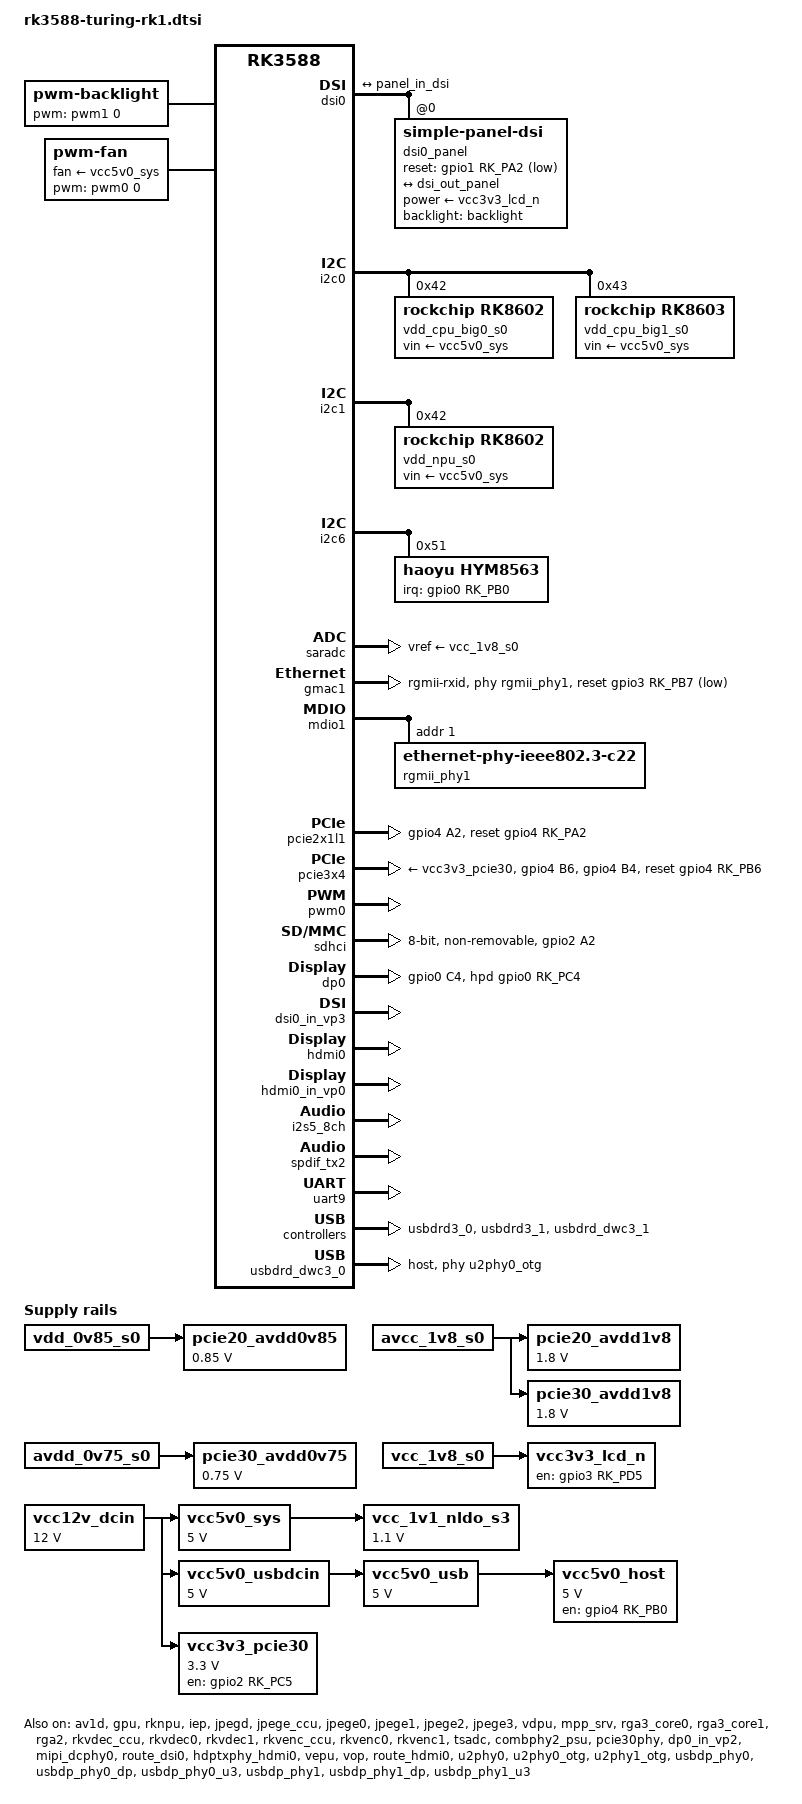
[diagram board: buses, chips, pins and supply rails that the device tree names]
// SPDX-License-Identifier: (GPL-2.0+ OR MIT)
/*
 * Copyright (c) 2023 Joshua Riek <jjriek@verizon.net>
 *
 */

/dts-v1/;

#include <dt-bindings/gpio/gpio.h>
#include <dt-bindings/pwm/pwm.h>
#include <dt-bindings/pinctrl/rockchip.h>
#include <dt-bindings/input/rk-input.h>
#include <dt-bindings/display/drm_mipi_dsi.h>
#include <dt-bindings/display/rockchip_vop.h>
#include <dt-bindings/sensor-dev.h>

#include "dt-bindings/usb/pd.h"
#include "rk3588.dtsi"
#include "rk3588-rk806-single.dtsi"
#include "rk3588-linux.dtsi"

/ {
	compatible = "turing,rk1", "rockchip,rk3588";

	/delete-node/ chosen;

	aliases {
		ethernet0 = &gmac1;
		mmc0 = &sdhci;
		serial2 = &uart2;
		serial9 = &uart9;
	};

	/* If hdmirx node is disabled, delete the reserved-memory node here. */
	reserved-memory {
		#address-cells = <2>;
		#size-cells = <2>;
		ranges;

		/* Reserve 256MB memory for hdmirx-controller@fdee0000 */
		cma {
			compatible = "shared-dma-pool";
			reusable;
			reg = <0x0 (256 * 0x100000) 0x0 (256 * 0x100000)>;
			linux,cma-default;
		};
	};

	backlight: backlight {
		compatible = "pwm-backlight";
		brightness-levels = <
			  0  20  20  21  21  22  22  23
			 23  24  24  25  25  26  26  27
			 27  28  28  29  29  30  30  31
			 31  32  32  33  33  34  34  35
			 35  36  36  37  37  38  38  39
			 40  41  42  43  44  45  46  47
			 48  49  50  51  52  53  54  55
			 56  57  58  59  60  61  62  63
			 64  65  66  67  68  69  70  71
			 72  73  74  75  76  77  78  79
			 80  81  82  83  84  85  86  87
			 88  89  90  91  92  93  94  95
			 96  97  98  99 100 101 102 103
			104 105 106 107 108 109 110 111
			112 113 114 115 116 117 118 119
			120 121 122 123 124 125 126 127
			128 129 130 131 132 133 134 135
			136 137 138 139 140 141 142 143
			144 145 146 147 148 149 150 151
			152 153 154 155 156 157 158 159
			160 161 162 163 164 165 166 167
			168 169 170 171 172 173 174 175
			176 177 178 179 180 181 182 183
			184 185 186 187 188 189 190 191
			192 193 194 195 196 197 198 199
			200 201 202 203 204 205 206 207
			208 209 210 211 212 213 214 215
			216 217 218 219 220 221 222 223
			224 225 226 227 228 229 230 231
			232 233 234 235 236 237 238 239
			240 241 242 243 244 245 246 247
			248 249 250 251 252 253 254 255
		>;
		default-brightness-level = <200>;
	};

	fan: pwm-fan {
		compatible = "pwm-fan";
		cooling-levels = <100 160 190 200 215 235 255>;
		fan-supply = <&vcc5v0_sys>;
		pinctrl-names = "default";
		pinctrl-0 = <&pwm0m2_pins &fan_int>;
		pwms = <&pwm0 0 50000 0>;
		#cooling-cells = <2>;
		rockchip,temp-trips = <
			55000	1
			60000	2
			65000	3
			70000	4
			75000	5
			80000	6
		>;
	};

	hdmi0_sound: hdmi0-sound {
		status = "okay";
		compatible = "rockchip,hdmi";
		rockchip,mclk-fs = <128>;
		rockchip,card-name = "rockchip-hdmi0";
		rockchip,cpu = <&i2s5_8ch>;
		rockchip,codec = <&hdmi0>;
		rockchip,jack-det;
	};

	dp0_sound: dp0-sound {
		status = "okay";
		compatible = "rockchip,hdmi";
		rockchip,card-name = "rockchip-dp0";
		rockchip,mclk-fs = <512>;
		rockchip,cpu = <&spdif_tx2>;
		rockchip,codec = <&dp0 1>;
		rockchip,jack-det;
	};

	vcc12v_dcin: vcc12v-dcin {
		compatible = "regulator-fixed";
		regulator-name = "vcc12v_dcin";
		regulator-always-on;
		regulator-boot-on;
		regulator-min-microvolt = <12000000>;
		regulator-max-microvolt = <12000000>;
	};

	vcc5v0_sys: vcc5v0-sys {
		compatible = "regulator-fixed";
		regulator-name = "vcc5v0_sys";
		regulator-always-on;
		regulator-boot-on;
		regulator-min-microvolt = <5000000>;
		regulator-max-microvolt = <5000000>;
		vin-supply = <&vcc12v_dcin>;
	};

	vcc5v0_usbdcin: vcc5v0-usbdcin {
		compatible = "regulator-fixed";
		regulator-name = "vcc5v0_usbdcin";
		regulator-always-on;
		regulator-boot-on;
		regulator-min-microvolt = <5000000>;
		regulator-max-microvolt = <5000000>;
		vin-supply = <&vcc12v_dcin>;
	};

	vcc5v0_usb: vcc5v0-usb {
		compatible = "regulator-fixed";
		regulator-name = "vcc5v0_usb";
		regulator-always-on;
		regulator-boot-on;
		regulator-min-microvolt = <5000000>;
		regulator-max-microvolt = <5000000>;
		vin-supply = <&vcc5v0_usbdcin>;
	};

	pcie20_avdd0v85: pcie20-avdd0v85 {
		compatible = "regulator-fixed";
		regulator-name = "pcie20_avdd0v85";
		regulator-boot-on;
		regulator-always-on;
		regulator-min-microvolt = <850000>;
		regulator-max-microvolt = <850000>;
		vin-supply = <&vdd_0v85_s0>;
	};

	pcie20_avdd1v8: pcie20-avdd1v8 {
		compatible = "regulator-fixed";
		regulator-name = "pcie20_avdd1v8";
		regulator-boot-on;
		regulator-always-on;
		regulator-min-microvolt = <1800000>;
		regulator-max-microvolt = <1800000>;
		vin-supply = <&avcc_1v8_s0>;
	};

	pcie30_avdd0v75: pcie30-avdd0v75 {
		compatible = "regulator-fixed";
		regulator-name = "pcie30_avdd0v75";
		regulator-boot-on;
		regulator-always-on;
		regulator-min-microvolt = <750000>;
		regulator-max-microvolt = <750000>;
		vin-supply = <&avdd_0v75_s0>;
	};

	pcie30_avdd1v8: pcie30-avdd1v8 {
		compatible = "regulator-fixed";
		regulator-name = "pcie30_avdd1v8";
		regulator-boot-on;
		regulator-always-on;
		regulator-min-microvolt = <1800000>;
		regulator-max-microvolt = <1800000>;
		vin-supply = <&avcc_1v8_s0>;
	};

	vcc3v3_lcd_n: vcc3v3-lcd0-n {
		compatible = "regulator-fixed";
		regulator-name = "vcc3v3_lcd0_n";
		regulator-boot-on;
		enable-active-high;
		gpio = <&gpio3 RK_PD5 GPIO_ACTIVE_HIGH>;
		vin-supply = <&vcc_1v8_s0>;
	};

	vcc_1v1_nldo_s3: vcc-1v1-nldo-s3 {
		compatible = "regulator-fixed";
		regulator-name = "vcc_1v1_nldo_s3";
		regulator-always-on;
		regulator-boot-on;
		regulator-min-microvolt = <1100000>;
		regulator-max-microvolt = <1100000>;
		vin-supply = <&vcc5v0_sys>;
	};

	vcc3v3_pcie30: vcc3v3-pcie30 {
		compatible = "regulator-fixed";
		regulator-name = "vcc3v3_pcie30";
		regulator-min-microvolt = <3300000>;
		regulator-max-microvolt = <3300000>;
		enable-active-high;
		gpios = <&gpio2 RK_PC5 GPIO_ACTIVE_HIGH>;
		pinctrl-names = "default";
		pinctrl-0 = <&vcc3v3_pcie30_en>;
		startup-delay-us = <5000>;
		vin-supply = <&vcc12v_dcin>;
	};

	vcc5v0_host: vcc5v0-host {
		compatible = "regulator-fixed";
		regulator-name = "vcc5v0_host";
		regulator-boot-on;
		regulator-always-on;
		regulator-min-microvolt = <5000000>;
		regulator-max-microvolt = <5000000>;
		enable-active-high;
		gpio = <&gpio4 RK_PB0 GPIO_ACTIVE_HIGH>;
		vin-supply = <&vcc5v0_usb>;
		pinctrl-names = "default";
		pinctrl-0 = <&vcc5v0_host_en>;
	};
};

&av1d {
	status = "okay";
};

&av1d_mmu {
	status = "okay";
};

&cpu_l0 {
	cpu-supply = <&vdd_cpu_lit_s0>;
	mem-supply = <&vdd_cpu_lit_mem_s0>;
};

&cpu_b0 {
	cpu-supply = <&vdd_cpu_big0_s0>;
	mem-supply = <&vdd_cpu_big0_mem_s0>;
};

&cpu_b2 {
	cpu-supply = <&vdd_cpu_big1_s0>;
	mem-supply = <&vdd_cpu_big1_mem_s0>;
};

&gpu {
	mali-supply = <&vdd_gpu_s0>;
	mem-supply = <&vdd_gpu_mem_s0>;
	status = "okay";
};

&rknpu {
	rknpu-supply = <&vdd_npu_s0>;
	mem-supply = <&vdd_npu_mem_s0>;
	status = "okay";
};

&rknpu_mmu {
	status = "okay";
};

&dsi0 {
	status = "disabled";
	//rockchip,lane-rate = <1000>;
	dsi0_panel: panel@0 {
		status = "okay";
		compatible = "simple-panel-dsi";
		reg = <0>;
		backlight = <&backlight>;
		reset-delay-ms = <10>;
		enable-delay-ms = <10>;
		prepare-delay-ms = <10>;
		unprepare-delay-ms = <10>;
		disable-delay-ms = <60>;
		dsi,flags = <(MIPI_DSI_MODE_VIDEO | MIPI_DSI_MODE_VIDEO_BURST |
			MIPI_DSI_MODE_LPM | MIPI_DSI_MODE_EOT_PACKET)>;
		dsi,format = <MIPI_DSI_FMT_RGB888>;
		dsi,lanes  = <4>;
		panel-init-sequence = [
			23 00 02 FE 21
			23 00 02 04 00
			23 00 02 00 64
			23 00 02 2A 00
			23 00 02 26 64
			23 00 02 54 00
			23 00 02 50 64
			23 00 02 7B 00
			23 00 02 77 64
			23 00 02 A2 00
			23 00 02 9D 64
			23 00 02 C9 00
			23 00 02 C5 64
			23 00 02 01 71
			23 00 02 27 71
			23 00 02 51 71
			23 00 02 78 71
			23 00 02 9E 71
			23 00 02 C6 71
			23 00 02 02 89
			23 00 02 28 89
			23 00 02 52 89
			23 00 02 79 89
			23 00 02 9F 89
			23 00 02 C7 89
			23 00 02 03 9E
			23 00 02 29 9E
			23 00 02 53 9E
			23 00 02 7A 9E
			23 00 02 A0 9E
			23 00 02 C8 9E
			23 00 02 09 00
			23 00 02 05 B0
			23 00 02 31 00
			23 00 02 2B B0
			23 00 02 5A 00
			23 00 02 55 B0
			23 00 02 80 00
			23 00 02 7C B0
			23 00 02 A7 00
			23 00 02 A3 B0
			23 00 02 CE 00
			23 00 02 CA B0
			23 00 02 06 C0
			23 00 02 2D C0
			23 00 02 56 C0
			23 00 02 7D C0
			23 00 02 A4 C0
			23 00 02 CB C0
			23 00 02 07 CF
			23 00 02 2F CF
			23 00 02 58 CF
			23 00 02 7E CF
			23 00 02 A5 CF
			23 00 02 CC CF
			23 00 02 08 DD
			23 00 02 30 DD
			23 00 02 59 DD
			23 00 02 7F DD
			23 00 02 A6 DD
			23 00 02 CD DD
			23 00 02 0E 15
			23 00 02 0A E9
			23 00 02 36 15
			23 00 02 32 E9
			23 00 02 5F 15
			23 00 02 5B E9
			23 00 02 85 15
			23 00 02 81 E9
			23 00 02 AD 15
			23 00 02 A9 E9
			23 00 02 D3 15
			23 00 02 CF E9
			23 00 02 0B 14
			23 00 02 33 14
			23 00 02 5C 14
			23 00 02 82 14
			23 00 02 AA 14
			23 00 02 D0 14
			23 00 02 0C 36
			23 00 02 34 36
			23 00 02 5D 36
			23 00 02 83 36
			23 00 02 AB 36
			23 00 02 D1 36
			23 00 02 0D 6B
			23 00 02 35 6B
			23 00 02 5E 6B
			23 00 02 84 6B
			23 00 02 AC 6B
			23 00 02 D2 6B
			23 00 02 13 5A
			23 00 02 0F 94
			23 00 02 3B 5A
			23 00 02 37 94
			23 00 02 64 5A
			23 00 02 60 94
			23 00 02 8A 5A
			23 00 02 86 94
			23 00 02 B2 5A
			23 00 02 AE 94
			23 00 02 D8 5A
			23 00 02 D4 94
			23 00 02 10 D1
			23 00 02 38 D1
			23 00 02 61 D1
			23 00 02 87 D1
			23 00 02 AF D1
			23 00 02 D5 D1
			23 00 02 11 04
			23 00 02 39 04
			23 00 02 62 04
			23 00 02 88 04
			23 00 02 B0 04
			23 00 02 D6 04
			23 00 02 12 05
			23 00 02 3A 05
			23 00 02 63 05
			23 00 02 89 05
			23 00 02 B1 05
			23 00 02 D7 05
			23 00 02 18 AA
			23 00 02 14 36
			23 00 02 42 AA
			23 00 02 3D 36
			23 00 02 69 AA
			23 00 02 65 36
			23 00 02 8F AA
			23 00 02 8B 36
			23 00 02 B7 AA
			23 00 02 B3 36
			23 00 02 DD AA
			23 00 02 D9 36
			23 00 02 15 74
			23 00 02 3F 74
			23 00 02 66 74
			23 00 02 8C 74
			23 00 02 B4 74
			23 00 02 DA 74
			23 00 02 16 9F
			23 00 02 40 9F
			23 00 02 67 9F
			23 00 02 8D 9F
			23 00 02 B5 9F
			23 00 02 DB 9F
			23 00 02 17 DC
			23 00 02 41 DC
			23 00 02 68 DC
			23 00 02 8E DC
			23 00 02 B6 DC
			23 00 02 DC DC
			23 00 02 1D FF
			23 00 02 19 03
			23 00 02 47 FF
			23 00 02 43 03
			23 00 02 6E FF
			23 00 02 6A 03
			23 00 02 94 FF
			23 00 02 90 03
			23 00 02 BC FF
			23 00 02 B8 03
			23 00 02 E2 FF
			23 00 02 DE 03
			23 00 02 1A 35
			23 00 02 44 35
			23 00 02 6B 35
			23 00 02 91 35
			23 00 02 B9 35
			23 00 02 DF 35
			23 00 02 1B 45
			23 00 02 45 45
			23 00 02 6C 45
			23 00 02 92 45
			23 00 02 BA 45
			23 00 02 E0 45
			23 00 02 1C 55
			23 00 02 46 55
			23 00 02 6D 55
			23 00 02 93 55
			23 00 02 BB 55
			23 00 02 E1 55
			23 00 02 22 FF
			23 00 02 1E 68
			23 00 02 4C FF
			23 00 02 48 68
			23 00 02 73 FF
			23 00 02 6F 68
			23 00 02 99 FF
			23 00 02 95 68
			23 00 02 C1 FF
			23 00 02 BD 68
			23 00 02 E7 FF
			23 00 02 E3 68
			23 00 02 1F 7E
			23 00 02 49 7E
			23 00 02 70 7E
			23 00 02 96 7E
			23 00 02 BE 7E
			23 00 02 E4 7E
			23 00 02 20 97
			23 00 02 4A 97
			23 00 02 71 97
			23 00 02 97 97
			23 00 02 BF 97
			23 00 02 E5 97
			23 00 02 21 B5
			23 00 02 4B B5
			23 00 02 72 B5
			23 00 02 98 B5
			23 00 02 C0 B5
			23 00 02 E6 B5
			23 00 02 25 F0
			23 00 02 23 E8
			23 00 02 4F F0
			23 00 02 4D E8
			23 00 02 76 F0
			23 00 02 74 E8
			23 00 02 9C F0
			23 00 02 9A E8
			23 00 02 C4 F0
			23 00 02 C2 E8
			23 00 02 EA F0
			23 00 02 E8 E8
			23 00 02 24 FF
			23 00 02 4E FF
			23 00 02 75 FF
			23 00 02 9B FF
			23 00 02 C3 FF
			23 00 02 E9 FF
			23 00 02 FE 3D
			23 00 02 00 04
			23 00 02 FE 23
			23 00 02 08 82
			23 00 02 0A 00
			23 00 02 0B 00
			23 00 02 0C 01
			23 00 02 16 00
			23 00 02 18 02
			23 00 02 1B 04
			23 00 02 19 04
			23 00 02 1C 81
			23 00 02 1F 00
			23 00 02 20 03
			23 00 02 23 04
			23 00 02 21 01
			23 00 02 54 63
			23 00 02 55 54
			23 00 02 6E 45
			23 00 02 6D 36
			23 00 02 FE 3D
			23 00 02 55 78
			23 00 02 FE 20
			23 00 02 26 30
			23 00 02 FE 3D
			23 00 02 20 71
			23 00 02 50 8F
			23 00 02 51 8F
			23 00 02 FE 00
			23 00 02 35 00
			05 78 01 11
			05 00 01 29
		];

		panel-exit-sequence = [
			05 00 01 28
			05 00 01 10
		];

		disp_timings0: display-timings {
			native-mode = <&dsi0_timing0>;
			dsi0_timing0: timing0 {
				clock-frequency = <132000000>;
				hactive = <1080>;
				vactive = <1920>;
				hfront-porch = <15>;
				hsync-len = <4>;
				hback-porch = <30>;
				vfront-porch = <15>;
				vsync-len = <2>;
				vback-porch = <15>;
				hsync-active = <0>;
				vsync-active = <0>;
				de-active = <0>;
				pixelclk-active = <0>;
			};
		};

		ports {
			#address-cells = <1>;
			#size-cells = <0>;

			port@0 {
				reg = <0>;
				panel_in_dsi: endpoint {
					remote-endpoint = <&dsi_out_panel>;
				};
			};
		};
	};

	ports {
		#address-cells = <1>;
		#size-cells = <0>;

		port@1 {
			reg = <1>;
			dsi_out_panel: endpoint {
				remote-endpoint = <&panel_in_dsi>;
			};
		};
	};

};

&backlight {
	pwms = <&pwm1 0 25000 0>;
	status = "okay";
};

&i2c0 {
	status = "okay";
	pinctrl-names = "default";
	pinctrl-0 = <&i2c0m2_xfer>;

	vdd_cpu_big0_s0: vdd_cpu_big0_mem_s0: rk8602@42 {
		compatible = "rockchip,rk8602";
		reg = <0x42>;
		vin-supply = <&vcc5v0_sys>;
		regulator-compatible = "rk860x-reg";
		regulator-name = "vdd_cpu_big0_s0";
		regulator-min-microvolt = <550000>;
		regulator-max-microvolt = <1050000>;
		regulator-ramp-delay = <2300>;
		rockchip,suspend-voltage-selector = <1>;
		regulator-boot-on;
		regulator-always-on;

		regulator-state-mem {
			regulator-off-in-suspend;
		};
	};

	vdd_cpu_big1_s0: vdd_cpu_big1_mem_s0: rk8603@43 {
		compatible = "rockchip,rk8603";
		reg = <0x43>;
		vin-supply = <&vcc5v0_sys>;
		regulator-compatible = "rk860x-reg";
		regulator-name = "vdd_cpu_big1_s0";
		regulator-min-microvolt = <550000>;
		regulator-max-microvolt = <1050000>;
		regulator-ramp-delay = <2300>;
		rockchip,suspend-voltage-selector = <1>;
		regulator-boot-on;
		regulator-always-on;

		regulator-state-mem {
			regulator-off-in-suspend;
		};
	};
};

&i2c1 {
	pinctrl-names = "default";
	pinctrl-0 = <&i2c1m2_xfer>;
	status = "okay";

	vdd_npu_s0: vdd_npu_mem_s0: rk8602@42 {
		compatible = "rockchip,rk8602";
		reg = <0x42>;
		vin-supply = <&vcc5v0_sys>;
		regulator-compatible = "rk860x-reg";
		regulator-name = "vdd_npu_s0";
		regulator-min-microvolt = <550000>;
		regulator-max-microvolt = <950000>;
		regulator-ramp-delay = <2300>;
		rockchip,suspend-voltage-selector = <1>;
		regulator-boot-on;
		regulator-always-on;

		regulator-state-mem {
			regulator-off-in-suspend;
		};
	};
};

&i2c6 {
	status = "okay";

	hym8563: rtc@51 {
		compatible = "haoyu,hym8563";
		reg = <0x51>;
		#clock-cells = <0>;
		clock-output-names = "hym8563";
		pinctrl-names = "default";
		pinctrl-0 = <&hym8563_int>;
		interrupt-parent = <&gpio0>;
		interrupts = <RK_PB0 IRQ_TYPE_LEVEL_LOW>;
		wakeup-source;
	};
};

&iep {
	status = "okay";
};

&iep_mmu {
	status = "okay";
};

&jpegd {
	status = "okay";
};

&jpegd_mmu {
	status = "okay";
};

&jpege_ccu {
	status = "okay";
};

&jpege0 {
	status = "okay";
};

&jpege0_mmu {
	status = "okay";
};

&jpege1 {
	status = "okay";
};

&jpege1_mmu {
	status = "okay";
};

&jpege2 {
	status = "okay";
};

&jpege2_mmu {
	status = "okay";
};

&jpege3 {
	status = "okay";
};

&jpege3_mmu {
	status = "okay";
};

&vdpu {
	status = "okay";
};

&vdpu_mmu {
	status = "okay";
};

&mpp_srv {
	status = "okay";
};

&rga3_core0 {
	status = "okay";
};

&rga3_0_mmu {
	status = "okay";
};

&rga3_core1 {
	status = "okay";
};

&rga3_1_mmu {
	status = "okay";
};

&rga2 {
	status = "okay";
};

&rkvdec_ccu {
	status = "okay";
};

&rkvdec0 {
	status = "okay";
};

&rkvdec0_mmu {
	status = "okay";
};

&rkvdec1 {
	status = "okay";
};

&rkvdec1_mmu {
	status = "okay";
};

&rkvenc_ccu {
	status = "okay";
};

&rkvenc0 {
	status = "okay";
};

&rkvenc0_mmu {
	status = "okay";
};

&rkvenc1 {
	status = "okay";
};

&rkvenc1_mmu {
	status = "okay";
};

&saradc {
	status = "okay";
	vref-supply = <&vcc_1v8_s0>;
};

&tsadc {
	status = "okay";
};

&gmac1 {
	status = "okay";
	phy-mode = "rgmii-rxid";
	clock_in_out = "output";

	snps,reset-gpio = <&gpio3 RK_PB7 GPIO_ACTIVE_LOW>;
	snps,reset-active-low;
	/* Reset time is 20ms, 100ms for rtl8211f */
	snps,reset-delays-us = <0 20000 100000>;

	pinctrl-names = "default";
	pinctrl-0 = <&gmac1_miim
		     &gmac1_tx_bus2
		     &gmac1_rx_bus2
		     &gmac1_rgmii_clk
		     &gmac1_rgmii_bus>;

	rx_delay = <0x00>;
	tx_delay = <0x43>;

	phy-handle = <&rgmii_phy1>;
};

&mdio1 {
	rgmii_phy1: phy@1 {
		compatible = "ethernet-phy-ieee802.3-c22";
		reg = <0x1>;
	};
};

&combphy2_psu {
	status = "okay";
};

&pcie2x1l1 {
	linux,pci-domain = <1>;
	pinctrl-names = "default";
	pinctrl-0 = <&pcie2_reset>;
	reset-gpios = <&gpio4 RK_PA2 GPIO_ACTIVE_HIGH>;
	status = "okay";
};

&pcie30phy {
	status = "okay";
};

&pcie3x4 {
	linux,pci-domain = <0>;
	pinctrl-names = "default";
	pinctrl-0 = <&pcie3_reset>, <&pcie3_clkreqn_m1>;
	reset-gpios = <&gpio4 RK_PB6 GPIO_ACTIVE_HIGH>;
	vpcie3v3-supply = <&vcc3v3_pcie30>;
	status = "okay";
};

&pinctrl {
	hym8563 {
		hym8563_int: hym8563-int {
			rockchip,pins = <0 RK_PB0 RK_FUNC_GPIO &pcfg_pull_none>;
		};
	};

	lcd {
		lcd_rst_gpio: lcd-rst-gpio {
			rockchip,pins = <1 RK_PA3 RK_FUNC_GPIO &pcfg_pull_none>;
		};
	};

	fan {
		fan_int: fan-int {
			rockchip,pins = <0 RK_PA4 RK_FUNC_GPIO &pcfg_pull_none>;
		};
	};

	usb {
		vcc5v0_host_en: vcc5v0-host-en {
			rockchip,pins = <4 RK_PB0 RK_FUNC_GPIO &pcfg_pull_none>;
		};
	};

	vga {
		vga_hpdin_l: vga-hpdin-l {
			rockchip,pins = <0 RK_PC4 RK_FUNC_GPIO &pcfg_pull_none>;
		};
	};

	pcie2 {
		pcie2_reset: pcie2-reset {
			rockchip,pins = <4 RK_PA2 RK_FUNC_GPIO &pcfg_pull_none>;
		};
	};

	pcie3 {
		pcie3_reset: pcie3-reset {
			rockchip,pins = <4 RK_PB6 RK_FUNC_GPIO &pcfg_pull_none>;
		};

		pcie3_clkreqn_m1: pcie3-clkreqn-m1 {
			rockchip,pins = <4 RK_PB4 RK_FUNC_GPIO &pcfg_pull_down>;
		};

		vcc3v3_pcie30_en: pcie3-reg {
			rockchip,pins = <2 RK_PC5 RK_FUNC_GPIO &pcfg_pull_none>;
		};
	};

	emmc {
		emmc_data_strobe: emmc-data-strobe {
			rockchip,pins = <2 RK_PA2 1 &pcfg_pull_down>;
		};
	};
};

&pwm0 {
	status = "okay";
};

&sdhci {
	bus-width = <8>;
	no-sdio;
	no-sd;
	non-removable;
	max-frequency = <200000000>;
	mmc-hs400-1_8v;
	mmc-hs400-enhanced-strobe;
	full-pwr-cycle-in-suspend;
	pinctrl-names = "default";
	pinctrl-0 = <&emmc_data_strobe>;
	status = "okay";
};

&dp0 {
	pinctrl-names = "default";
	pinctrl-0 = <&vga_hpdin_l>;
	hpd-gpios = <&gpio0 RK_PC4 GPIO_ACTIVE_HIGH>;
	status = "okay";
};

&dp0_in_vp2 {
	status = "okay";
};

&dp1_in_vp2 {
	status = "disabled";
};

&dsi0 {
	status = "okay";
};

&dsi0_in_vp2 {
	status = "disabled";
};

&dsi0_in_vp3 {
	status = "okay";
};

&dsi0_panel {
	status = "okay";
	power-supply = <&vcc3v3_lcd_n>;
	reset-gpios = <&gpio1 RK_PA2 GPIO_ACTIVE_LOW>;
	pinctrl-names = "default";
	pinctrl-0 = <&lcd_rst_gpio>;
};

&mipi_dcphy0 {
	status = "okay";
};

&route_dsi0 {
	status = "okay";
	connect = <&vp3_out_dsi0>;
};

&hdmi0 {
	status = "okay";
};

&hdmi0_in_vp0 {
	status = "okay";
};

&hdmi0_in_vp1 {
	status = "disabled";
};

&hdmi0_in_vp2 {
	status = "disabled";
};

&hdptxphy_hdmi0 {
	status = "okay";
};

&i2s5_8ch {
	status = "okay";
};

&spdif_tx2 {
	status = "okay";
};

&vop_mmu {
	status = "okay";
};

&vepu {
	status = "okay";
};

&vop {
	status = "okay";
	assigned-clocks = <&cru ACLK_VOP>;
	assigned-clock-rates = <800000000>;
};

&route_hdmi0 {
	status = "okay";
	connect = <&vp0_out_hdmi0>;
};

&vp0 {
	rockchip,plane-mask = <(1 << ROCKCHIP_VOP2_CLUSTER0 | 1 << ROCKCHIP_VOP2_ESMART0)>;
	rockchip,primary-plane = <ROCKCHIP_VOP2_CLUSTER0>;
	cursor-win-id = <ROCKCHIP_VOP2_ESMART0>;
};

&vp1 {
	rockchip,plane-mask = <(1 << ROCKCHIP_VOP2_CLUSTER1 | 1 << ROCKCHIP_VOP2_ESMART1)>;
	rockchip,primary-plane = <ROCKCHIP_VOP2_CLUSTER1>;
	cursor-win-id = <ROCKCHIP_VOP2_ESMART1>;
};

&vp2 {
	rockchip,plane-mask = <(1 << ROCKCHIP_VOP2_CLUSTER2 | 1 << ROCKCHIP_VOP2_ESMART2)>;
	rockchip,primary-plane = <ROCKCHIP_VOP2_CLUSTER2>;
	cursor-win-id = <ROCKCHIP_VOP2_ESMART2>;
};

&vp3 {
	rockchip,plane-mask = <(1 << ROCKCHIP_VOP2_CLUSTER3 | 1 << ROCKCHIP_VOP2_ESMART3)>;
	rockchip,primary-plane = <ROCKCHIP_VOP2_CLUSTER3>;
	cursor-win-id = <ROCKCHIP_VOP2_ESMART3>;
};

&display_subsystem {
	clocks = <&hdptxphy_hdmi_clk0>;
	clock-names = "hdmi0_phy_pll";
};

&hdptxphy_hdmi_clk0 {
	status = "okay";
};

&uart9 {
	pinctrl-0 = <&uart9m0_xfer>;
	status = "okay";
};

&u2phy0 {
	status = "okay";
};

&u2phy0_otg {
	rockchip,sel-pipe-phystatus;
	status = "okay";
};

&u2phy1_otg {
	phy-supply = <&vcc5v0_host>;
};

&u2phy2_host {
	phy-supply = <&vcc5v0_host>;
};

&u2phy3_host {
	phy-supply = <&vcc5v0_host>;
};

&usbdp_phy0 {
	rockchip,dp-lane-mux = <0 1 2 3>;
	status = "okay";
};

&usbdp_phy0_dp {
	status = "okay";
};

&usbdp_phy0_u3 {
	status = "okay";
};

&usbdp_phy1 {
	rockchip,dp-lane-mux = <3 2 1 0>;
	status = "okay";
};

&usbdp_phy1_dp {
	status = "okay";
};

&usbdp_phy1_u3 {
	maximum-speed = "high-speed";
	status = "okay";
};

&usbdrd3_0 {
	status = "okay";
};

&usbdrd_dwc3_0 {
	dr_mode = "host";
	phys = <&u2phy0_otg>;
	phy-names = "usb2-phy";
	maximum-speed = "high-speed";
	extcon = <&u2phy0>;
	status = "okay";
};

&u2phy1 {
	status = "okay";
};

&u2phy1_otg {
	status = "okay";
};

&usbdp_phy1 {
	status = "okay";
};

&usbdp_phy1_u3 {
	status = "okay";
};

&usbdrd3_1 {
	status = "okay";
};

&usbdrd_dwc3_1 {
	status = "okay";
};
